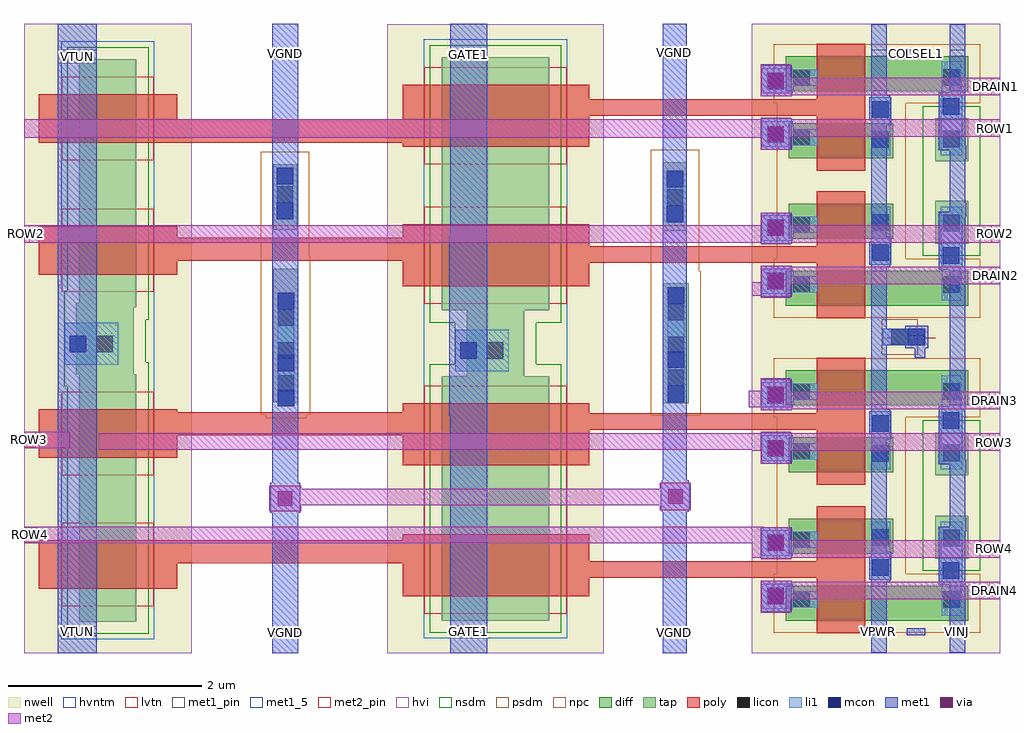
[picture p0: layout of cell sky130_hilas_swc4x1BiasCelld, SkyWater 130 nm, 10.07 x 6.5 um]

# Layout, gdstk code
import gdstk
lib = gdstk.Library(unit=1e-6, precision=1e-09)
def R(c, l, rs):  # rectangles x0, y0, x1, y1
    for r in rs: c.add(gdstk.rectangle(r[:2], r[2:], *l))
def A(c, l, x, y, w, h, nx, ny, dx, dy):  # array of equal rectangles
    R(c, l, [(x+i*dx, y+j*dy, x+i*dx+w, y+j*dy+h) for i in range(nx) for j in range(ny)])
nwell = (64, 20)
diff = (65, 20)
tap = (65, 44)
poly = (66, 20)
licon = (66, 44)
li1 = (67, 20)
mcon = (67, 44)
met1_5 = (68, 5)
met1_pin = (68, 16)
met1 = (68, 20)
via = (68, 44)
met2_pin = (69, 16)
met2 = (69, 20)
hvi = (75, 20)
nsdm = (93, 44)
psdm = (94, 20)
npc = (95, 20)
hvntm = (125, 20)
lvtn = (125, 44)

sky130_hilas_tuncap01 = lib.new_cell('sky130_hilas_TunCap01')
R(sky130_hilas_tuncap01, nwell, [(-14.51,-4,-12.78,-2.1)])
R(sky130_hilas_tuncap01, tap, [(-13.94,-3.67,-13.35,-2.47)])
R(sky130_hilas_tuncap01, poly, [(-14.36,-3.33,-12.93,-2.83)])
R(sky130_hilas_tuncap01, hvi, [(-14.51,-4,-12.78,-2.1)])
R(sky130_hilas_tuncap01, nsdm, [(-14.065,-3.795,-13.225,-2.345)])
R(sky130_hilas_tuncap01, hvntm, [(-14.125,-3.855,-13.165,-2.285)])
R(sky130_hilas_tuncap01, lvtn, [(-14.12,-3.51,-13.17,-2.65)])

sky130_hilas_fgvaractorc = lib.new_cell('sky130_hilas_FGVaractorCapacitor')
R(sky130_hilas_fgvaractorc, nwell, [(-9.57,-3.95,-7.34,-2.1)])
R(sky130_hilas_fgvaractorc, tap, [(-9.01,-3.61,-7.9,-2.44)])
R(sky130_hilas_fgvaractorc, poly, [(-9.41,-3.36,-7.49,-2.72)])
R(sky130_hilas_fgvaractorc, met1, [(-8.92,-3.95,-8.54,-2.09)])
R(sky130_hilas_fgvaractorc, hvi, [(-9.57,-3.95,-7.34,-2.1)])
R(sky130_hilas_fgvaractorc, nsdm, [(-9.135,-3.735,-7.775,-2.315)])
R(sky130_hilas_fgvaractorc, hvntm, [(-9.195,-3.795,-7.715,-2.255)])
R(sky130_hilas_fgvaractorc, lvtn, [(-9.19,-3.54,-7.72,-2.54)])

sky130_hilas_li2m2 = lib.new_cell('sky130_hilas_li2m2')
R(sky130_hilas_li2m2, li1, [(-0.13,-0.12,0.19,-0.09), (-0.13,-0.09,0.2,0.1), (-0.13,0.1,0.19,0.14)])
R(sky130_hilas_li2m2, mcon, [(-0.07,-0.08,0.1,0.09)])
R(sky130_hilas_li2m2, met1, [(-0.14,-0.15,0.18,0.17)])
R(sky130_hilas_li2m2, via, [(-0.055,-0.065,0.095,0.085)])
R(sky130_hilas_li2m2, met2, [(-0.14,-0.15,0.17,0.18)])

sky130_hilas_horizpcell0 = lib.new_cell('sky130_hilas_horizPcell01d')
R(sky130_hilas_horizpcell0, nwell, [(-2.89,0.41,-0.33,2.32)])
R(sky130_hilas_horizpcell0, diff, [(-2.54,0.75,-0.66,1.11), (-2.51,1.44,-1.43,1.8)])
R(sky130_hilas_horizpcell0, tap, [(-1,1.39,-0.66,1.83)])
R(sky130_hilas_horizpcell0, poly, [(-2.22,0.62,-1.72,1.19), (-2.89,1.19,-1.72,1.36), (-2.22,1.36,-1.72,1.93)])
R(sky130_hilas_horizpcell0, licon, [(-2.465,0.88,-2.295,1.05), (-0.915,0.88,-0.745,1.05), (-2.465,1.5,-2.295,1.67), (-0.915,1.515,-0.745,1.685), (-1.65,1.52,-1.48,1.69)])
R(sky130_hilas_horizpcell0, li1, [(-0.93,0.8,-0.73,1.15), (-2.55,0.88,-2.21,1.05), (-0.93,1.15,-0.72,1.18), (-1.66,1.17,-1.46,1.77), (-0.94,1.18,-0.72,1.77), (-2.55,1.5,-2.21,1.67)])
R(sky130_hilas_horizpcell0, mcon, [(-0.92,1.18,-0.75,1.35), (-1.65,1.21,-1.48,1.38)])
R(sky130_hilas_horizpcell0, met1, [(-1.66,0.42,-1.5,1.15), (-0.85,0.42,-0.69,1.12), (-0.96,1.12,-0.69,1.67), (-1.66,1.15,-1.46,1.17), (-1.68,1.17,-1.45,1.41), (-1.66,1.41,-1.45,1.46), (-1.66,1.46,-1.5,2.32), (-0.96,1.67,-0.68,1.72), (-0.85,1.72,-0.68,1.81), (-0.85,1.81,-0.69,2.32)])
R(sky130_hilas_horizpcell0, met2, [(-2.51,0.97,-0.33,1.15), (-2.89,1.4,-2.8,1.58), (-2.5,1.4,-0.33,1.58)])
R(sky130_hilas_horizpcell0, hvi, [(-2.89,0.41,-0.33,2.32)])
R(sky130_hilas_horizpcell0, nsdm, [(-1.125,1.265,-0.535,1.955)])
R(sky130_hilas_horizpcell0, psdm, [(-2.665,0.625,-0.535,1.235), (-2.635,1.235,-1.305,1.925)])
sky130_hilas_horizpcell0.add(gdstk.Reference(sky130_hilas_li2m2, (-2.66,1.56), x_reflection=True))
sky130_hilas_horizpcell0.add(gdstk.Reference(sky130_hilas_li2m2, (-2.66,1.01), x_reflection=True))

sky130_hilas_wellcontact = lib.new_cell('sky130_hilas_wellContact')
R(sky130_hilas_wellcontact, nwell, [(-14.48,-4.4,-12.75,-2.56)])
R(sky130_hilas_wellcontact, tap, [(-13.94,-4.05,-13.35,-3.31)])
R(sky130_hilas_wellcontact, licon, [(-13.735,-3.82,-13.565,-3.65)])
R(sky130_hilas_wellcontact, li1, [(-14.06,-3.95,-13.51,-3.52)])
R(sky130_hilas_wellcontact, mcon, [(-14.01,-3.82,-13.84,-3.65)])
R(sky130_hilas_wellcontact, met1, [(-14.12,-4.41,-13.73,-2.55)])
R(sky130_hilas_wellcontact, hvi, [(-14.48,-4.4,-12.75,-2.56)])
R(sky130_hilas_wellcontact, nsdm, [(-14.065,-4.175,-13.225,-3.185)])

sky130_hilas_swc4x1biasc = lib.new_cell('sky130_hilas_swc4x1BiasCelld')
R(sky130_hilas_swc4x1biasc, nwell, [(1.68,-2.49,2.79,-2.3), (-2.06,-2.47,-1.47,-2.32), (6.32,-0.82,6.49,-0.72), (6.66,-0.82,6.67,-0.72), (6.32,-0.72,6.67,-0.71), (6.32,-0.71,6.49,-0.65), (4.88,-0.21,4.97,-0.13), (1.68,0.71,2.79,0.98), (-2.06,0.77,-1.47,0.93)])
R(sky130_hilas_swc4x1biasc, tap, [(1.68,-2.49,2.79,-2.3), (-2.06,-2.47,-1.47,-2.32), (-0.01,-1.45,0.16,-1.41), (3.96,-1.42,4.23,-0.18), (-0.06,-1.41,0.2,-0.03), (3.96,0.36,4.21,1.07), (-0.06,0.37,0.19,1.05), (1.68,0.71,2.79,0.98), (-2.06,0.77,-1.47,0.93)])
R(sky130_hilas_swc4x1biasc, poly, [(3.2,-3.22,4.88,-3.05), (-1.05,-3.07,1.32,-2.83), (-1.07,-1.75,1.3,-1.51), (3.2,-1.69,4.88,-1.52), (6.32,-0.82,6.49,-0.75), (6.65,-0.82,6.67,-0.75), (6.27,-0.75,6.77,-0.74), (6.32,-0.74,6.49,-0.72), (6.65,-0.74,6.67,-0.72), (6.32,-0.72,6.67,-0.71), (6.32,-0.71,6.49,-0.65), (3.2,0.03,4.88,0.2), (-1.07,0.05,1.28,0.29), (-1.05,1.27,1.28,1.51), (3.2,1.55,4.88,1.72)])
A(sky130_hilas_swc4x1biasc, licon, -0.01, -1.3, 0.17, 0.17, 1, 3, 0, 0.34)
A(sky130_hilas_swc4x1biasc, licon, 4.01, -1.24, 0.17, 0.17, 1, 3, 0, 0.34)
R(sky130_hilas_swc4x1biasc, licon, [(6.32,-0.82,6.49,-0.65), (4,0.62,4.17,0.79), (-0.02,0.65,0.15,0.82)])
R(sky130_hilas_swc4x1biasc, li1, [(-0.01,-1.45,0.16,-0.28), (4.01,-1.41,4.18,-0.22), (6.23,-0.82,6.67,-0.65), (4,0.45,4.17,0.98), (-0.02,0.48,0.15,1.01)])
R(sky130_hilas_swc4x1biasc, mcon, [(-0.01,-1.45,0.16,-1.28), (4.01,-1.41,4.18,-1.24), (-0.01,-1.09,0.16,-0.92), (4.01,-1.05,4.18,-0.88), (6.495,-0.82,6.665,-0.65), (-0.01,-0.45,0.16,-0.28), (4.01,-0.39,4.18,-0.22), (4,0.45,4.17,0.62), (-0.02,0.48,0.15,0.65), (4,0.81,4.17,0.98), (-0.02,0.84,0.15,1.01)])
R(sky130_hilas_swc4x1biasc, met1_5, [(6.48,2.16,6.67,2.23)])
R(sky130_hilas_swc4x1biasc, met1_pin, [(-2.28,-3.82,-1.88,-3.72), (-0.07,-3.82,0.2,-3.75), (1.77,-3.82,2.15,-3.72), (3.96,-3.82,4.21,-3.75), (6.11,-3.81,6.27,-3.74), (6.48,-3.81,6.67,-3.74), (6.92,-3.81,7.08,-3.74), (-2.28,2.09,-1.88,2.23), (1.77,2.13,2.15,2.23), (-0.07,2.15,0.2,2.23), (6.11,2.16,6.27,2.23), (6.92,2.16,7.08,2.23), (3.96,2.18,4.21,2.23)])
R(sky130_hilas_swc4x1biasc, met1, [(-2.28,-4,-1.88,2.5), (-0.07,-4,0.2,-2.55), (1.77,-4,2.15,-3.72), (3.96,-4,4.21,-2.54), (6.11,-3.81,6.27,-3.74), (6.48,-3.81,6.67,-3.74), (6.92,-3.81,7.08,-3.74), (-0.09,-2.55,0.22,-2.24), (3.95,-2.54,4.23,-2.52), (3.94,-2.52,4.24,-2.24), (-0.07,-2.24,0.2,2.5), (3.95,-2.24,4.23,-2.21), (3.96,-2.21,4.21,2.5), (6.56,-0.95,6.67,-0.85), (6.46,-0.85,6.7,-0.82), (6.27,-0.82,6.7,-0.75), (6.11,-0.75,6.7,-0.74), (6.92,-0.75,7.08,-0.74), (6.27,-0.74,6.7,-0.65), (6.46,-0.65,6.7,-0.62), (1.77,2.13,2.15,2.5), (6.11,2.16,6.27,2.23), (6.48,2.16,6.67,2.23), (6.92,2.16,7.08,2.23)])
R(sky130_hilas_swc4x1biasc, via, [(-0.01,-2.475,0.14,-2.325), (4.015,-2.455,4.165,-2.305)])
R(sky130_hilas_swc4x1biasc, met2_pin, [(7.33,-3.44,7.44,-3.26), (7.33,-3.01,7.44,-2.83), (-2.63,-2.85,-2.49,-2.7), (7.33,-1.91,7.44,-1.73), (-2.63,-1.87,-2.51,-1.71), (7.33,-1.48,7.44,-1.3), (7.35,-0.19,7.44,-0.01), (-2.63,0.24,-2.57,0.42), (7.35,0.24,7.44,0.42), (7.35,1.33,7.44,1.51), (7.35,1.76,7.44,1.94)])
R(sky130_hilas_swc4x1biasc, met2, [(7.33,-3.44,7.44,-3.26), (7.33,-3.01,7.44,-2.83), (-2.63,-2.86,5,-2.69), (-0.1,-2.53,0.23,-2.47), (3.93,-2.52,4.25,-2.47), (-0.1,-2.47,4.25,-2.3), (-0.1,-2.3,0.23,-2.27), (3.93,-2.3,4.25,-2.24), (7.33,-1.91,7.44,-1.73), (-1.86,-1.9,5,-1.73), (-2.62,-1.88,-2.16,-1.87), (-2.63,-1.87,-2.16,-1.71), (7.33,-1.48,7.44,-1.3), (4.85,-1.46,5,-1.29), (4.88,-0.31,5,-0.2), (4.88,-0.2,4.97,-0.17), (7.35,-0.19,7.44,-0.01), (-2.63,0.24,5,0.42), (7.35,0.24,7.44,0.42), (-2.63,1.32,4.98,1.51), (7.35,1.33,7.44,1.51), (7.35,1.76,7.44,1.94)])
R(sky130_hilas_swc4x1biasc, hvi, [(-2.245,-2.815,-1.285,-1.975), (1.495,-2.815,2.975,-1.975), (1.495,0.425,2.975,1.265), (-2.245,0.43,-1.285,1.27)])
R(sky130_hilas_swc4x1biasc, nsdm, [(1.555,-2.615,2.915,-2.175), (-2.185,-2.595,-1.345,-2.195), (6.645,-2.455,7.235,-2.285), (1.555,0.585,2.915,1.105), (-2.185,0.645,-1.345,1.055), (6.645,0.795,7.235,0.955)])
R(sky130_hilas_swc4x1biasc, psdm, [(5.135,-2.485,6.465,-2.255), (-0.135,-1.575,0.285,-1.535), (3.835,-1.545,4.355,-0.055), (-0.185,-1.535,0.325,0.095), (3.835,-0.055,4.335,1.195), (-0.185,0.095,0.315,1.175), (5.135,0.765,6.465,0.985)])
R(sky130_hilas_swc4x1biasc, npc, [(6.22,-0.92,6.59,-0.55)])
R(sky130_hilas_swc4x1biasc, hvntm, [(-2.275,-1.305,-2.245,-0.935), (1.495,-0.955,2.975,-0.645), (-2.275,-0.935,-1.285,-0.615), (-2.275,-0.615,-2.245,-0.195)])
R(sky130_hilas_swc4x1biasc, lvtn, [(1.5,-2.59,2.97,-2.24)])
sky130_hilas_swc4x1biasc.add(gdstk.Reference(sky130_hilas_tuncap01, (11.88,0)))
sky130_hilas_swc4x1biasc.add(gdstk.Reference(sky130_hilas_tuncap01, (11.88,1.35)))
sky130_hilas_swc4x1biasc.add(gdstk.Reference(sky130_hilas_fgvaractorc, (10.69,-0.05)))
sky130_hilas_swc4x1biasc.add(gdstk.Reference(sky130_hilas_fgvaractorc, (10.69,1.3)))
sky130_hilas_swc4x1biasc.add(gdstk.Reference(sky130_hilas_horizpcell0, (7.77,-0.33), x_reflection=True))
sky130_hilas_swc4x1biasc.add(gdstk.Reference(sky130_hilas_horizpcell0, (7.77,-4.41)))
sky130_hilas_swc4x1biasc.add(gdstk.Reference(sky130_hilas_tuncap01, (11.88,3.24)))
sky130_hilas_swc4x1biasc.add(gdstk.Reference(sky130_hilas_wellcontact, (11.85,2.93)))
sky130_hilas_swc4x1biasc.add(gdstk.Reference(sky130_hilas_fgvaractorc, (10.69,3.15)))
sky130_hilas_swc4x1biasc.add(gdstk.Reference(sky130_hilas_wellcontact, (15.88,2.86)))
sky130_hilas_swc4x1biasc.add(gdstk.Reference(sky130_hilas_horizpcell0, (7.77,-1.16)))
sky130_hilas_swc4x1biasc.add(gdstk.Reference(sky130_hilas_tuncap01, (11.88,4.6)))
sky130_hilas_swc4x1biasc.add(gdstk.Reference(sky130_hilas_fgvaractorc, (10.69,4.59)))
sky130_hilas_swc4x1biasc.add(gdstk.Reference(sky130_hilas_horizpcell0, (7.77,2.91), x_reflection=True))
sky130_hilas_swc4x1biasc.add(gdstk.Label('COLSEL1', (6.575,2.195), layer=68, texttype=5))
sky130_hilas_swc4x1biasc.add(gdstk.Label('ROW1', (7.395,1.42), layer=69, texttype=16))
sky130_hilas_swc4x1biasc.add(gdstk.Label('ROW2', (7.395,0.33), layer=69, texttype=16))
sky130_hilas_swc4x1biasc.add(gdstk.Label('ROW2', (-2.6,0.33), layer=69, texttype=16))
sky130_hilas_swc4x1biasc.add(gdstk.Label('ROW3', (-2.57,-1.79), layer=69, texttype=16))
sky130_hilas_swc4x1biasc.add(gdstk.Label('ROW3', (7.385,-1.82), layer=69, texttype=16))
sky130_hilas_swc4x1biasc.add(gdstk.Label('ROW4', (-2.56,-2.775), layer=69, texttype=16))
sky130_hilas_swc4x1biasc.add(gdstk.Label('ROW4', (7.385,-2.92), layer=69, texttype=16))
sky130_hilas_swc4x1biasc.add(gdstk.Label('VTUN', (-2.08,2.16), layer=68, texttype=16))
sky130_hilas_swc4x1biasc.add(gdstk.Label('VTUN', (-2.08,-3.77), layer=68, texttype=16))
sky130_hilas_swc4x1biasc.add(gdstk.Label('GATE1', (1.96,-3.77), layer=68, texttype=16))
sky130_hilas_swc4x1biasc.add(gdstk.Label('GATE1', (1.96,2.18), layer=68, texttype=16))
sky130_hilas_swc4x1biasc.add(gdstk.Label('VINJ', (7,2.195), layer=68, texttype=16))
sky130_hilas_swc4x1biasc.add(gdstk.Label('VINJ', (7,-3.775), layer=68, texttype=16))
sky130_hilas_swc4x1biasc.add(gdstk.Label('VPWR', (6.19,2.195), layer=68, texttype=16))
sky130_hilas_swc4x1biasc.add(gdstk.Label('VPWR', (6.19,-3.775), layer=68, texttype=16))
sky130_hilas_swc4x1biasc.add(gdstk.Label('COLSEL1', (6.575,-3.775), layer=68, texttype=16))
sky130_hilas_swc4x1biasc.add(gdstk.Label('VGND', (0.065,2.19), layer=68, texttype=16))
sky130_hilas_swc4x1biasc.add(gdstk.Label('VGND', (4.085,2.205), layer=68, texttype=16))
sky130_hilas_swc4x1biasc.add(gdstk.Label('VGND', (0.065,-3.785), layer=68, texttype=16))
sky130_hilas_swc4x1biasc.add(gdstk.Label('VGND', (4.085,-3.785), layer=68, texttype=16))
sky130_hilas_swc4x1biasc.add(gdstk.Label('DRAIN3', (7.385,-1.39), layer=69, texttype=16))
sky130_hilas_swc4x1biasc.add(gdstk.Label('DRAIN4', (7.385,-3.35), layer=69, texttype=16))
sky130_hilas_swc4x1biasc.add(gdstk.Label('DRAIN1', (7.395,1.85), layer=69, texttype=16))
sky130_hilas_swc4x1biasc.add(gdstk.Label('DRAIN2', (7.395,-0.1), layer=69, texttype=16))

lib.write_gds('sky130_hilas_swc4x1BiasCelld.gds')
